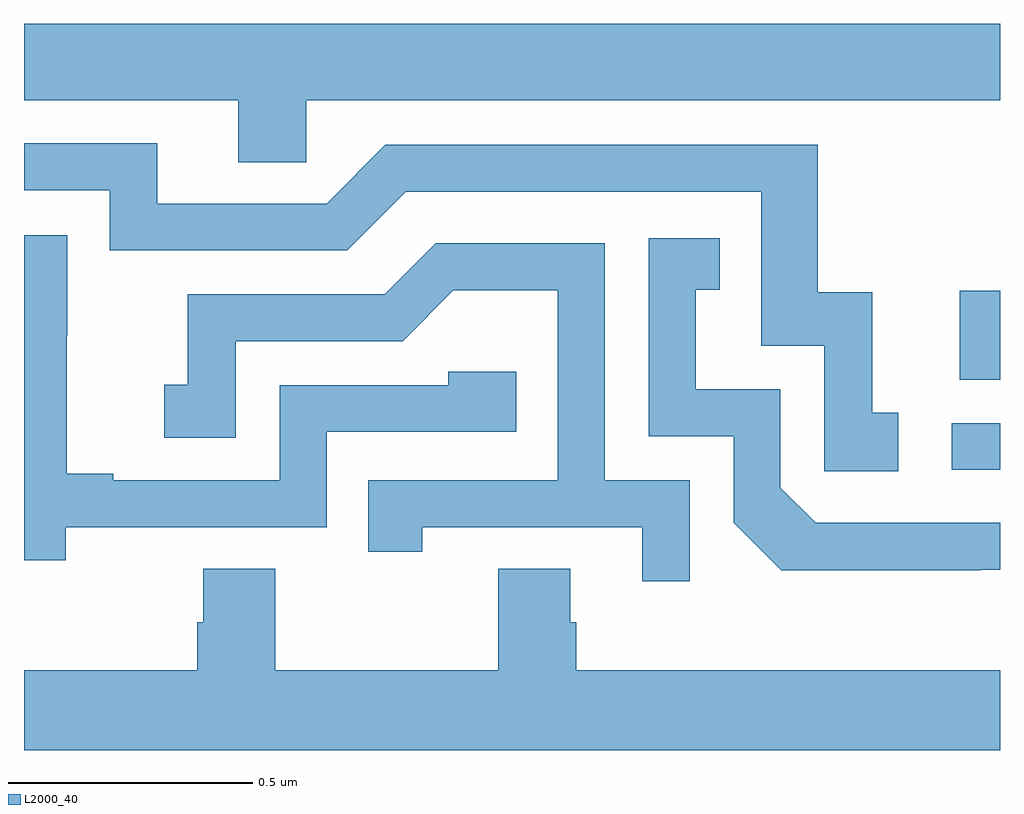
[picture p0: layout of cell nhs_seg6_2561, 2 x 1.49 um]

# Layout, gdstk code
import gdstk
lib = gdstk.Library(unit=1e-6, precision=1e-09)
def R(c, l, rs):  # rectangles x0, y0, x1, y1
    for r in rs: c.add(gdstk.rectangle(r[:2], r[2:], *l))
def P(c, l, *ps):  # polygons
    for p in ps: c.add(gdstk.Polygon(p, *l))
L2000_40 = (2000, 40)

nhs_seg6_2561 = lib.new_cell('nhs_seg6_2561')
R(nhs_seg6_2561, L2000_40, [(146.901,938.586,147,938.682), (146.918,938.771,147,938.953)])
P(nhs_seg6_2561, L2000_40, [(145.578,939.344),(147,939.344),(147,939.5),(145,939.5),(145,939.344),(145.439,939.344),(145.439,939.217),(145.578,939.217)],
  [(146.791,938.703),(146.738,938.703),(146.738,938.95),(146.627,938.95),(146.627,939.252),(145.74,939.252),(145.62,939.132),(145.273,939.132),(145.273,939.255),(145,939.255),(145,939.159),(145.176,939.159),(145.176,939.036),(145.662,939.036),(145.782,939.156),(146.511,939.156),(146.511,938.841),(146.64,938.841),(146.64,938.583),(146.791,938.583)],
  [(145.086,938.469),(145.62,938.469),(145.62,938.664),(146.009,938.664),(146.009,938.787),(145.869,938.787),(145.869,938.76),(145.524,938.76),(145.524,938.565),(145.183,938.565),(145.183,938.578),(145.088,938.578),(145.088,938.861),(145.089,938.861),(145.089,939.067),(145,939.067),(145,938.401),(145.086,938.401)],
  [(146.96,938.382),(147,938.382),(147,938.478),(146.622,938.478),(146.55,938.55),(146.55,938.751),(146.377,938.751),(146.377,938.955),(146.426,938.955),(146.426,939.061),(146.28,939.061),(146.28,938.655),(146.454,938.655),(146.454,938.478),(146.552,938.381),(146.96,938.381)],
  [(146.364,938.565),(146.19,938.565),(146.19,939.051),(145.844,939.051),(145.739,938.946),(145.336,938.946),(145.336,938.761),(145.287,938.761),(145.287,938.652),(145.434,938.652),(145.434,938.85),(145.776,938.85),(145.88,938.954),(146.094,938.954),(146.094,938.565),(145.705,938.565),(145.705,938.418),(145.816,938.418),(145.816,938.469),(146.267,938.469),(146.267,938.358),(146.364,938.358)],
  [(147,938.176),(146.132,938.176),(146.132,938.274),(146.119,938.274),(146.119,938.384),(145.972,938.384),(145.972,938.176),(145.515,938.176),(145.515,938.384),(145.367,938.384),(145.367,938.274),(145.355,938.274),(145.355,938.176),(145,938.176),(145,938.012),(147,938.012)])

lib.write_gds('nhs_seg6_2561.gds')
